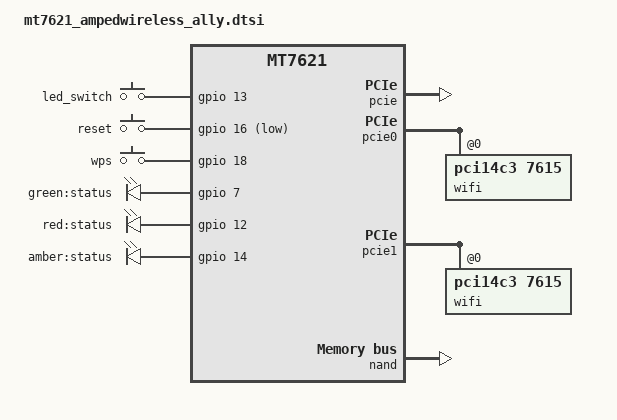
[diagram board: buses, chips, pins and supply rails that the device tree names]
// SPDX-License-Identifier: GPL-2.0-or-later OR MIT

#include "mt7621.dtsi"

#include <dt-bindings/gpio/gpio.h>
#include <dt-bindings/input/input.h>

/ {
	aliases {
		led-boot = &led_status_amber;
		led-failsafe = &led_status_amber;
		led-running = &led_status_green;
		led-upgrade = &led_status_red;
	};

	keys {
		compatible = "gpio-keys";

		led_switch {
			label = "led_switch";
			gpios = <&gpio 13 GPIO_ACTIVE_HIGH>;
			linux,code = <KEY_LIGHTS_TOGGLE>;
			linux,input-type = <EV_SW>;
		};

		reset {
			label = "reset";
			gpios = <&gpio 16 GPIO_ACTIVE_LOW>;
			linux,code = <KEY_RESTART>;
		};

		wps {
			label = "wps";
			gpios = <&gpio 18 GPIO_ACTIVE_HIGH>;
			linux,code = <KEY_WPS_BUTTON>;
		};
	};

	leds {
		compatible = "gpio-leds";

		led_status_green: status_green {
			label = "green:status";
			gpios = <&gpio 7 GPIO_ACTIVE_HIGH>;
		};

		led_status_red: status_red {
			label = "red:status";
			gpios = <&gpio 12 GPIO_ACTIVE_HIGH>;
		};

		led_status_amber: status_amber {
			label = "amber:status";
			gpios = <&gpio 14 GPIO_ACTIVE_HIGH>;
		};
	};
};

&pcie {
	status = "okay";
};

&pcie0 {
	wifi@0,0 {
		compatible = "pci14c3,7615";
		reg = <0x0000 0 0 0 0>;
		mediatek,mtd-eeprom = <&factory 0x0000>;
		ieee80211-freq-limit = <2400000 2500000>;
	};
};

&pcie1 {
	wifi@0,0 {
		compatible = "pci14c3,7615";
		reg = <0x0000 0 0 0 0>;
		mediatek,mtd-eeprom = <&factory 0x8000>;
		ieee80211-freq-limit = <5000000 6000000>;
	};
};

&state_default {
	gpio {
		groups = "uart2", "uart3", "jtag", "wdt";
		function = "gpio";
	};
};

&nand {
	status = "okay";

	partitions {
		compatible = "fixed-partitions";
		#address-cells = <1>;
		#size-cells = <1>;

		partition@0 {
			label = "u-boot";
			reg = <0x0 0x80000>;
			read-only;
		};

		partition@80000 {
			label = "u-boot-env";
			reg = <0x80000 0x80000>;
		};

		factory: partition@100000 {
			label = "factory";
			reg = <0x100000 0x40000>;
			read-only;
		};

		/*
		 * uboot expects to find kernels at 0x140000 & 0x2140000,
		 * referred to as Uimage & Uimage1 in factory FW, respectively.
		 * U-boot variable 'bootImage' controls which is booted;
		 * 0 for the first, 1 for the 2nd.
		 * There's a 3rd partition, Uimage2 (0x4140000), which
		 * I expected to be a recovery image, but is actually blank.
		 *
		 * A kernel is considered suitable for handing control over
		 * if its linux magic number exists & uImage CRC are correct.
		 * If either of those conditions fail, 'bootImage' value
		 * is toggled in uboot env & a restart performed in the hope that the
		 * alternate kernel is okay.
		 *
		 * Note uboot's tftp flash install writes the transferred
		 * image to the active kernel partition.
		 */

		partition@140000 {
			label = "kernel";
			reg = <0x140000 0x400000>;
		};

		partition@540000 {
			label = "ubi";
			reg = <0x540000 0x1c00000>;
		};

		partition@2140000 {
			label = "oem";
			reg = <0x2140000 0x2000000>;
		};

		partition@4140000 {
			label = "backup";
			reg = <0x4140000 0x2000000>;
		};

		partition@6140000 {
			label = "chime";
			reg = <0x6140000 0xa00000>;
		};

		partition@6b40000 {
			label = "data";
			reg = <0x6b40000 0xa00000>;
		};

		partition@7540000 {
			label = "reserved";
			reg = <0x7540000 0x840000>;
			read-only;
		};

		partition@7d80000 {
			label = "nvram";
			reg = <0x7d80000 0x100000>;
			read-only;
		};

		partition@7e80000 {
			label = "hwconfig";
			reg = <0x7e80000 0x100000>;
			read-only;
		};
	};
};
